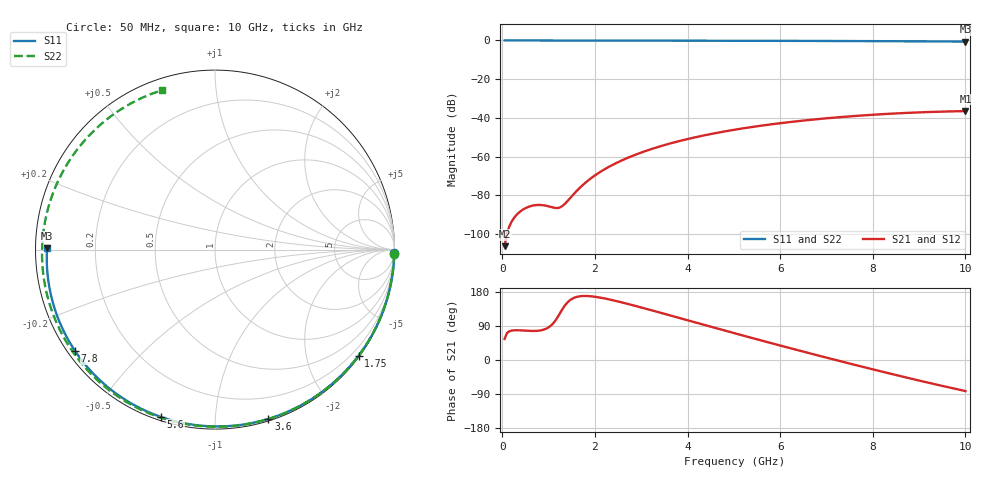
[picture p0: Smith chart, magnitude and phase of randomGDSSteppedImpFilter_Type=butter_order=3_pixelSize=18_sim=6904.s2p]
! freq	dB(S11)	phase(S11)	dB(S12)	phase(S12)
!  dB(S21)	phase(S21)	dB(S22)	phase(S22)
!S-par simulation data
#  GHz  S  DB  R 50
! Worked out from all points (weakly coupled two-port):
!   200 points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, 50 MHz to 10 GHz, reference 50 ohm
!   highest |S21| = -36.52 dB at 10 GHz (marker M1); lowest = -106.3 dB at 50 MHz (marker M2)
!   lowest |S11| = -0.6 dB at 10 GHz (marker M3), VSWR 30.18, Z = 1.66 + j0.181 ohm
!   |S11| at or under -10 dB: nowhere
!   |S22| runs from -0.6 to 0.0 dB; largest |S21 - S12| = 0
!   S11 on the Smith chart (normalised r, x): 50 MHz: open; 1.75 GHz: 0.03, -3.04; 3.6 GHz: 0.02, -1.36; 5.6 GHz: 0.02, -0.73; 7.8 GHz: 0.02, -0.33; 10 GHz: 0.03, +0.00
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0.05  -0.00 -1.0  -106.34 55.7  -106.34 55.7  -0.00 -1.5
0.4  -0.01 -8.4  -88.19 78.2  -88.19 78.2  -0.02 -12.3
0.75  -0.02 -15.8  -85.06 76.9  -85.06 76.9  -0.03 -23.0
1.1  -0.03 -23.1  -86.42 96.8  -86.42 96.8  -0.04 -33.6
1.5  -0.04 -31.4  -80.53 161.0  -80.53 161.0  -0.06 -45.4
1.55  -0.04 -32.4  -79.21 164.1  -79.21 164.1  -0.06 -46.9
1.75  -0.05 -36.5  -74.47 169.0  -74.47 169.0  -0.07 -52.7
2.05  -0.05 -42.5  -68.96 166.0  -68.96 166.0  -0.08 -61.2
2.45  -0.06 -50.5  -63.49 155.9  -63.49 155.9  -0.09 -72.3
2.9  -0.08 -59.2  -58.83 141.9  -58.83 141.9  -0.11 -84.3
3.4  -0.09 -68.7  -54.79 125.3  -54.79 125.3  -0.12 -97.2
3.6  -0.10 -72.5  -53.41 118.5  -53.41 118.5  -0.13 -102.2
4.3  -0.12 -85.3  -49.36 94.8  -49.36 94.8  -0.16 -119.1
5.05  -0.15 -98.5  -46.01 69.5  -46.01 69.5  -0.19 -136.5
5.6  -0.18 -107.9  -44.03 51.2  -44.03 51.2  -0.23 -148.9
6.15  -0.21 -117.1  -42.35 33.3  -42.35 33.3  -0.26 -161.1
6.7  -0.24 -126.1  -40.93 15.7  -40.93 15.7  -0.30 -173.3
7.25  -0.28 -135.1  -39.73 -1.6  -39.73 -1.6  -0.34 174.5
7.8  -0.33 -144.0  -38.72 -18.6  -38.72 -18.6  -0.39 162.0
8.35  -0.38 -152.9  -37.91 -35.2  -37.91 -35.2  -0.44 149.3
9.25  -0.48 -167.7  -36.97 -61.4  -36.97 -61.4  -0.51 127.5
10  -0.58 179.6  -36.52 -81.9  -36.52 -81.9  -0.58 108.4
